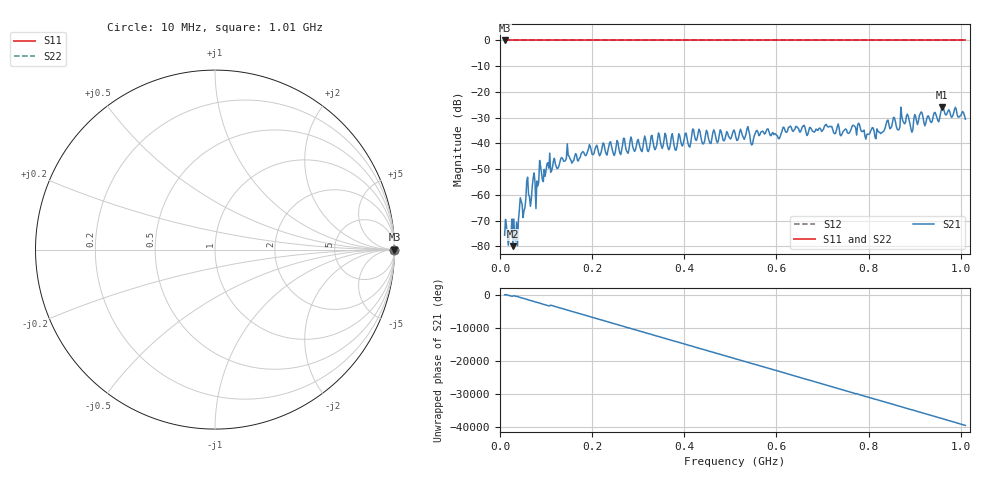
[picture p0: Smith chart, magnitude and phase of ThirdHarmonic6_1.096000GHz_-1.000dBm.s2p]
! 8/16/2025 10:15:26 AM
! C:\ANRITSUVNA\TEMP\TEMP.S2P
! CHANNEL.1
! TR.MEASUREMENT
! RAW.DATA
! RF.CORRECTION.OFF
! AVERAGING.OFF
! IF.BANDWIDTH: 5KHZ
! SWEEPTYPE:  FREQ.SWEEP(Linear)
! Reference Plane Port Info
! PORT:  PORT1  PORT2
! DISTANCE:  0  m  0  m
! TIME:  0  s  0  s
! PHASE.OFFSET:  0  deg.  0  deg.
! LOSS:  0  dB  0  dB
! REF.LOSS:  0  dB  0  dB
! REF.FREQ:  0  Hz  0  Hz
! Power Info
! POWER:  -20  dBm  -20  dBm
! EFF.POWER:  -20  dBm  -20  dBm
! SOURCE.ATTEN:  0  dB  0  dB
! TEST.ATTEN:  0  dB  0  dB
# GHZ S RI R 50.0
! FREQ.GHZ  S11RE  S11IM  S21RE  S21IM  S12RE  S12IM  S22RE  S22IM
!; PortSelection: Port_12
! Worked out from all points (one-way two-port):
!   501 points, 10 MHz to 1.01 GHz, reference 50 ohm
!   highest |S21| = -25.89 dB at 960 MHz (marker M1); lowest = -80.0 dB at 28 MHz (marker M2)
!   lowest |S11| = 0.0 dB at 10 MHz (marker M3)
!   |S11| at or under -10 dB: nowhere
!   |S22| runs from 0.0 to 0.0 dB; largest |S21 - S12| = 1
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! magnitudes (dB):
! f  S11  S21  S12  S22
! 10 MHz  0.0  -75.7  0.0  0.0
! 28 MHz  0.0  -80.0  0.0  0.0
! 36 MHz  0.0  -70.7  0.0  0.0
! 44 MHz  0.0  -61.2  0.0  0.0
! 52 MHz  0.0  -66.2  0.0  0.0
! 60 MHz  0.0  -53.2  0.0  0.0
! 66 MHz  0.0  -64.5  0.0  0.0
! 104 MHz  0.0  -47.5  0.0  0.0
! 178 MHz  0.0  -43.6  0.0  0.0
! 344 MHz  0.0  -36.0  0.0  0.0
! 382 MHz  0.0  -42.7  0.0  0.0
! 420 MHz  0.0  -34.6  0.0  0.0
! 510 MHz  0.0  -35.9  0.0  0.0
! 548 MHz  0.0  -40.3  0.0  0.0
! 678 MHz  0.0  -35.2  0.0  0.0
! 780 MHz  0.0  -32.6  0.0  0.0
! 796 MHz  0.0  -36.6  0.0  0.0
! 844 MHz  0.0  -32.6  0.0  0.0
! 884 MHz  0.0  -28.6  0.0  0.0
! 894 MHz  0.0  -35.7  0.0  0.0
! 960 MHz  0.0  -25.9  0.0  0.0
! 1.01 GHz  0.0  -30.6  0.0  0.0
